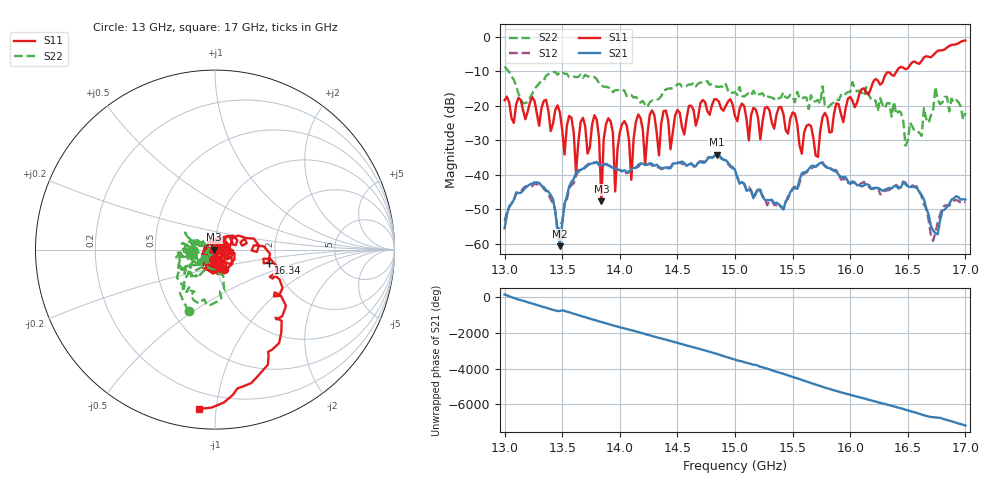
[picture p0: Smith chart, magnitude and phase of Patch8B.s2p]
!Keysight Technologies,P9374A,MY57211810,A.19.30.04
!Date: Friday, May 09, 2025 10:40:20
!Correction: S11(Cdelta 2-Port  )
!S21(Cdelta 2-Port  )
!S12(Cdelta 2-Port  )
!S22(Cdelta 2-Port  )
!S2P File: Measurements: S11, S21, S12, S22:
# Hz S  dB  R 50
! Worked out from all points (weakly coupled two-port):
!   201 points, 13 GHz to 17 GHz, reference 50 ohm
!   highest |S21| = -34.18 dB at 14.84 GHz (marker M1); lowest = -60.8 dB at 13.48 GHz (marker M2)
!   lowest |S11| = -47.8 dB at 13.84 GHz (marker M3), VSWR 1.01, Z = 49.6 - j0.102 ohm
!   |S11| at or under -10 dB: start of sweep to 16.4 GHz
!   |S22| runs from -31.6 to -8.6 dB; largest |S21 - S12| = 0.0019
!   S11 on the Smith chart (normalised r, x): 13 GHz: 1.07, -0.24; 16.34 GHz: 1.82, -0.29; 17 GHz: 0.10, -0.90
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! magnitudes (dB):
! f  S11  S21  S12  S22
! 13 GHz  -18.4  -55.6  -53.6  -8.6
! 13.3 GHz  -25.8  -42.3  -42.5  -13.5
! 13.48 GHz  -21.9  -60.8  -54.5  -10.1
! 13.62 GHz  -39.6  -39.4  -40.3  -11.6
! 13.68 GHz  -23.5  -38.2  -38.5  -11.9
! 13.8 GHz  -24.0  -36.3  -36.4  -12.2
! 13.84 GHz  -47.8  -37.2  -37.5  -14.0
! 13.9 GHz  -23.6  -37.2  -37.4  -14.6
! 13.96 GHz  -44.9  -38.0  -38.3  -15.4
! 14.04 GHz  -24.4  -38.7  -38.9  -15.6
! 14.1 GHz  -41.5  -38.5  -38.6  -16.8
! 14.16 GHz  -22.5  -37.1  -37.7  -18.2
! 14.34 GHz  -34.4  -37.7  -38.0  -17.9
! 14.38 GHz  -21.5  -38.1  -38.1  -15.7
! 14.84 GHz  -18.1  -34.2  -34.2  -14.5
! 15 GHz  -23.0  -38.6  -39.0  -16.0
! 15.42 GHz  -22.3  -50.0  -50.1  -16.1
! 15.68 GHz  -29.3  -37.3  -37.7  -18.8
! 16.34 GHz  -10.3  -43.8  -44.5  -19.2
! 16.48 GHz  -9.3  -42.7  -42.3  -31.6
! 16.72 GHz  -5.3  -56.2  -59.2  -21.1
! 17 GHz  -1.0  -47.2  -47.9  -22.1
